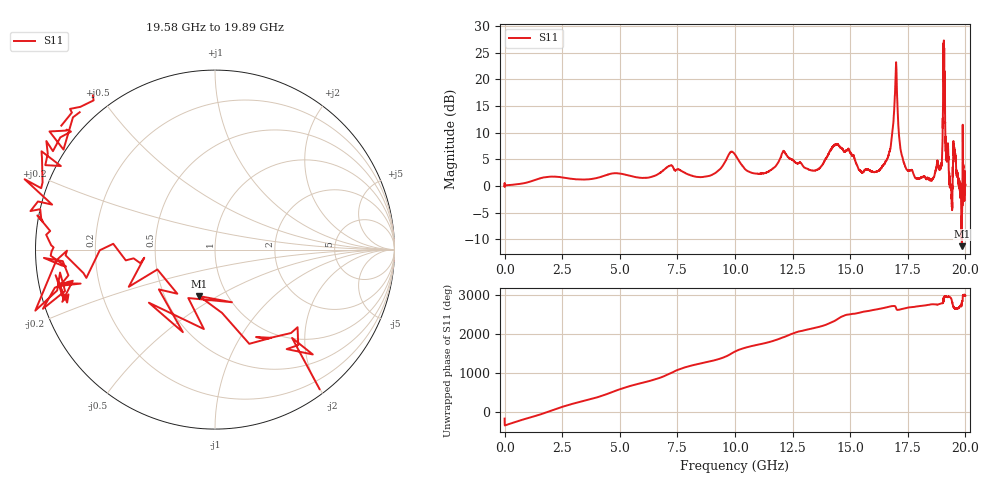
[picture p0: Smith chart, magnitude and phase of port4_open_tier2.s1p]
! Created with skrf 1.8.0 (http://scikit-rf.org).
# GHz S RI R 50.0
!freq ReS11 ImS11
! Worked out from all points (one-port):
!   10001 points, 1 MHz to 20 GHz, reference 50 ohm
!   lowest |S11| = -11.3 dB at 19.85 GHz (marker M1), VSWR 1.75, Z = 36.9 - j20.7 ohm
!   |S11| at or under -10 dB: 19.84387 GHz to 19.84912 GHz (5.249 MHz wide, 0.0264 % of centre)
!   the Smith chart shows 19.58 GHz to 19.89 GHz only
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0.001  -1.002 -0.000419
2.500875  -0.6118 1.038
4.018799  1.188 0.1011
5.00075  -1.108 -0.7035
5.868707  1.196 0.0318
6.944653  -1.401 -0.3278
7.500625  1.4 -0.321
8.634568  -1.207 0.1755
9.40853  0.4555 -1.417
10.0005  -0.3531 1.945
10.79646  -0.4346 -1.245
11.66442  1.434 0.3319
12.0904  -0.5437 2.051
12.50038  -1.648 -0.6216
13.64232  1.418 0.3067
14.0923  -0.5069 2.024
14.37628  -2.458 -0.1508
15.00025  1.863 -0.8042
16.65617  -1.879 0.4557
16.90815  -5.042 -0.7869
17.07215  0.3468 4.453
17.50013  -1.167 0.7755
18.95005  -0.4192 -1.53
19.13204  0.6606 2.872
19.19804  0.8324 1.881
19.52002  -1.574 1.439
19.84801  -0.0887 -0.2588
20  -0.0393 1.016
